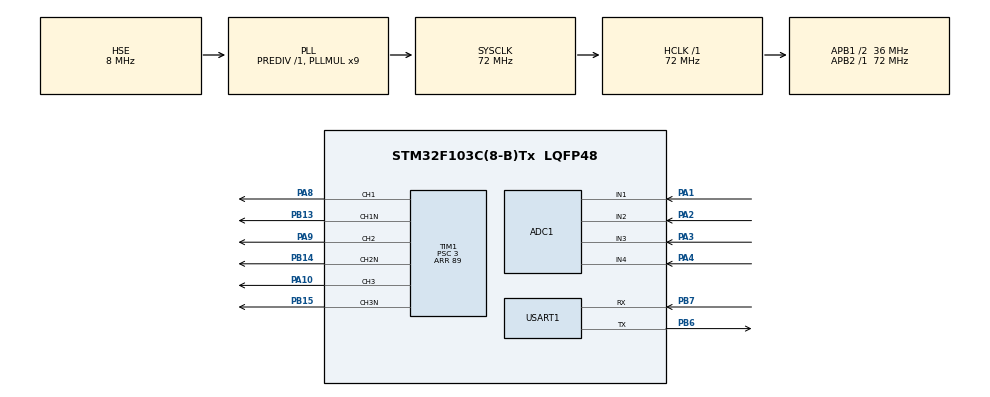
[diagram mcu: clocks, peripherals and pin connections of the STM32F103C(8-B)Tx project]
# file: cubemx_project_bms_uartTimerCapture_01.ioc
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ADC1.Channel-0\#ChannelRegularConversion=ADC_CHANNEL_1
ADC1.ContinuousConvMode=ENABLE
ADC1.NbrOfConversion=1
ADC1.NbrOfConversionFlag=1
ADC1.Rank-0\#ChannelRegularConversion=1
ADC1.SamplingTime-0\#ChannelRegularConversion=ADC_SAMPLETIME_239CYCLES_5
ADC1.master=1
Mcu.Family=STM32F1
Mcu.Name=STM32F103C(8-B)Tx
Mcu.Package=LQFP48
NVIC.ADC1_2_IRQn=true\:0\:0\:false\:false\:true\:true\:true\:true
NVIC.PriorityGroup=NVIC_PRIORITYGROUP_4
NVIC.RCC_IRQn=true\:0\:0\:false\:false\:true\:true\:false\:true
NVIC.TIM1_CC_IRQn=true\:0\:0\:false\:false\:true\:true\:true\:true
NVIC.TIM2_IRQn=true\:0\:0\:false\:false\:true\:true\:true\:true
PA1.Signal=ADCx_IN1
PA10.Signal=S_TIM1_CH3
PA13.Mode=Serial_Wire
PA13.Signal=SYS_JTMS-SWDIO
PA14.Mode=Serial_Wire
PA14.Signal=SYS_JTCK-SWCLK
PA2.Signal=ADCx_IN2
PA3.Signal=ADCx_IN3
PA4.Signal=ADCx_IN4
PA8.Signal=S_TIM1_CH1
PA9.Signal=S_TIM1_CH2
PB13.Mode=PWM Generation1 CH1 CH1N
PB13.Signal=TIM1_CH1N
PB14.Mode=PWM Generation2 CH2 CH2N
PB14.Signal=TIM1_CH2N
PB15.Mode=PWM Generation3 CH3 CH3N
PB15.Signal=TIM1_CH3N
PB6.Mode=Asynchronous
PB6.Signal=USART1_TX
PB7.Mode=Asynchronous
PB7.Signal=USART1_RX
PC14-OSC32_IN.Mode=LSE-External-Oscillator
PC14-OSC32_IN.Signal=RCC_OSC32_IN
PC15-OSC32_OUT.Mode=LSE-External-Oscillator
PC15-OSC32_OUT.Signal=RCC_OSC32_OUT
PD0-OSC_IN.Mode=HSE-External-Oscillator
PD0-OSC_IN.Signal=RCC_OSC_IN
PD1-OSC_OUT.Mode=HSE-External-Oscillator
PD1-OSC_OUT.Signal=RCC_OSC_OUT
ProjectManager.HeapSize=0x200
ProjectManager.StackSize=0x400
ProjectManager.TargetToolchain=STM32CubeIDE
RCC.ADCPresc=RCC_ADCPCLK2_DIV6
RCC.AHBFreq_Value=72000000
RCC.APB1CLKDivider=RCC_HCLK_DIV2
RCC.APB1Freq_Value=36000000
RCC.APB1TimFreq_Value=72000000
RCC.APB2Freq_Value=72000000
RCC.APB2TimFreq_Value=72000000
RCC.HCLKFreq_Value=72000000
RCC.PLLMUL=RCC_PLL_MUL9
RCC.PLLSourceVirtual=RCC_PLLSOURCE_HSE
RCC.SYSCLKFreq_VALUE=72000000
RCC.SYSCLKSource=RCC_SYSCLKSOURCE_PLLCLK
RCC.USBFreq_Value=72000000
SH.ADCx_IN1.0=ADC1_IN1,IN1
SH.ADCx_IN2.0=ADC1_IN2,IN2
SH.ADCx_IN3.0=ADC1_IN3,IN3
SH.ADCx_IN4.0=ADC1_IN4,IN4
SH.S_TIM1_CH1.0=TIM1_CH1,PWM Generation1 CH1 CH1N
SH.S_TIM1_CH2.0=TIM1_CH2,PWM Generation2 CH2 CH2N
SH.S_TIM1_CH3.0=TIM1_CH3,PWM Generation3 CH3 CH3N
TIM1.AutoReloadPreload=TIM_AUTORELOAD_PRELOAD_ENABLE
TIM1.Channel-PWM\ Generation1\ CH1\ CH1N=TIM_CHANNEL_1
TIM1.Channel-PWM\ Generation2\ CH2\ CH2N=TIM_CHANNEL_2
TIM1.Channel-PWM\ Generation3\ CH3\ CH3N=TIM_CHANNEL_3
TIM1.CounterMode=TIM_COUNTERMODE_UP
TIM1.DeadTime=200
TIM1.OC1Preload_PWM=ENABLE
TIM1.Period=89
TIM1.Prescaler=3
TIM1.Pulse-PWM\ Generation1\ CH1\ CH1N=26
TIM1.RepetitionCounter=0
TIM1.TIM_MasterOutputTrigger=TIM_TRGO_RESET
TIM2.Period=9999
TIM2.Prescaler=7199
USART1.VirtualMode=VM_ASYNC
VP_ADC1_Vref_Input.Mode=IN-Vrefint
VP_TIM1_VS_ClockSourceINT.Mode=Internal
VP_TIM2_VS_ClockSourceINT.Mode=Internal
board=custom

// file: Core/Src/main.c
/* USER CODE BEGIN Header */
/**
  ******************************************************************************
  * @file           : main.c
  * @brief          : Main program body
  ******************************************************************************
  * @attention
  *
  * Copyright (c) 2024 STMicroelectronics.
  * All rights reserved.
  *
  * This software is licensed under terms that can be found in the LICENSE file
  * in the root directory of this software component.
  * If no LICENSE file comes with this software, it is provided AS-IS.
  *
  ******************************************************************************
  */
/* USER CODE END Header */
#include "main.h"

/* USER CODE BEGIN Includes */
#include <stdbool.h>
#include <stdio.h>
#include <string.h>
/* USER CODE END Includes */

ADC_HandleTypeDef hadc1;

TIM_HandleTypeDef htim1;
TIM_HandleTypeDef htim2;

UART_HandleTypeDef huart1;

/* USER CODE BEGIN PV */
#define _USR_ADC_BUF_SIZE 5
#define _USR_ADC_SAMPLE_COUNT 16
#define _USR_ADC_CHANNEL_1 0
#define _USR_ADC_CHANNEL_2 1
#define _USR_ADC_CHANNEL_3 2
#define _USR_ADC_CHANNEL_4 3
#define _USR_VREF_CHANNEL 4

uint8_t g_pwmCounter;
uint32_t g_timeoutMs;
uint8_t g_u8count;
uint8_t g_u8adcSampleCounter;
bool g_adcFinishedFlg;
bool g_adcConvFlg;
uint32_t channel1 = 0;
uint32_t channel2 = 0;
uint32_t channel3 = 0;
uint32_t channel4 = 0;
uint32_t channel5 = 0;
uint32_t g_adcDmaBuffer[_USR_ADC_BUF_SIZE];
uint16_t Vref, vdda;
uint16_t readValue1, readValue2, readValue3, readValue4, readValue5;
uint16_t pil1, pil2, pil3, pil4;
static volatile uint32_t g_adcRawValueBuf[_USR_ADC_BUF_SIZE][_USR_ADC_SAMPLE_COUNT];
char buffer[20];

ADC_ChannelConfTypeDef sConfigPrivate = {0};
/* USER CODE END PV */

void SystemClock_Config(void);
static void MX_GPIO_Init(void);
static void MX_TIM1_Init(void);
static void MX_USART1_UART_Init(void);
static void MX_TIM2_Init(void);
static void MX_ADC1_Init(void);
/* USER CODE BEGIN PFP */
void UsrMyDelay(uint32_t timeoutMs);
void UsrAdcGetValue(void);
void UsrAdcCallback(void);
void UsrReadAdc(void);
/* USER CODE END PFP */

/* USER CODE BEGIN 0 */

/*
	TIM_CLCOK = APB_TIM_CLOCK / PRESCALAR    72000000 / 35 = 2 MHz
	FREQUENCY = TIM_CLOCK / ARR              2000000 / 100 = 20 KHz
	DUTY = (CCRx / ARR) x 100                30 / 100 x100 = 20
*/

void UsrReadAdc(void)
{
	sConfigPrivate.Rank = ADC_REGULAR_RANK_1;
	sConfigPrivate.SamplingTime = ADC_SAMPLETIME_71CYCLES_5;
	sConfigPrivate.Channel = ADC_CHANNEL_1;
	HAL_ADC_ConfigChannel(&hadc1, &sConfigPrivate);
	HAL_ADC_Start(&hadc1);
	HAL_ADC_PollForConversion(&hadc1, 1000);
	readValue1 = HAL_ADC_GetValue(&hadc1);
	sprintf(buffer, "adc1: %d\n", readValue1);
	HAL_UART_Transmit(&huart1, (uint8_t*)buffer, strlen(buffer), 100);
	memset(buffer, 0, 20);
	HAL_ADC_Stop(&hadc1);

	sConfigPrivate.SamplingTime = ADC_SAMPLETIME_71CYCLES_5;
	sConfigPrivate.Channel = ADC_CHANNEL_2;
	HAL_ADC_ConfigChannel(&hadc1, &sConfigPrivate);
	HAL_ADC_Start(&hadc1);
	HAL_ADC_PollForConversion(&hadc1, 1000);
	readValue2 = HAL_ADC_GetValue(&hadc1);
	sprintf(buffer, "adc2: %d\n", readValue2);
	HAL_UART_Transmit(&huart1, (uint8_t*)buffer, strlen(buffer), 100);
	memset(buffer, 0, 20);
	HAL_ADC_Stop(&hadc1);

	sConfigPrivate.SamplingTime = ADC_SAMPLETIME_71CYCLES_5;
	sConfigPrivate.Channel = ADC_CHANNEL_3;
	HAL_ADC_ConfigChannel(&hadc1, &sConfigPrivate);
	HAL_ADC_Start(&hadc1);
	HAL_ADC_PollForConversion(&hadc1, 1000);
	readValue3 = HAL_ADC_GetValue(&hadc1);
	sprintf(buffer, "adc3: %d\n", readValue3);
	HAL_UART_Transmit(&huart1, (uint8_t*)buffer, strlen(buffer), 100);
	memset(buffer, 0, 20);
	HAL_ADC_Stop(&hadc1);

	sConfigPrivate.SamplingTime = ADC_SAMPLETIME_71CYCLES_5;
	sConfigPrivate.Channel = ADC_CHANNEL_4;
	HAL_ADC_ConfigChannel(&hadc1, &sConfigPrivate);
	HAL_ADC_Start(&hadc1);
	HAL_ADC_PollForConversion(&hadc1, 1000);
	readValue4 = HAL_ADC_GetValue(&hadc1);
	sprintf(buffer, "adc4: %d\n", readValue4);
	HAL_UART_Transmit(&huart1, (uint8_t*)buffer, strlen(buffer), 100);
	memset(buffer, 0, 20);
	HAL_ADC_Stop(&hadc1);

	sConfigPrivate.SamplingTime = ADC_SAMPLETIME_71CYCLES_5;
	sConfigPrivate.Channel = ADC_CHANNEL_VREFINT;
	HAL_ADC_ConfigChannel(&hadc1, &sConfigPrivate);
	HAL_ADC_Start(&hadc1);
	HAL_ADC_PollForConversion(&hadc1, 1000);
	readValue5 = HAL_ADC_GetValue(&hadc1);
	HAL_ADC_Stop(&hadc1);
}

/* USER CODE END 0 */

int main(void)
{

  /* MCU Configuration--------------------------------------------------------*/

  /* Reset of all peripherals, Initializes the Flash interface and the Systick. */
  HAL_Init();

  /* Configure the system clock */
  SystemClock_Config();

  /* Initialize all configured peripherals */
  MX_GPIO_Init();
  MX_TIM1_Init();
  MX_USART1_UART_Init();
  MX_TIM2_Init();
  MX_ADC1_Init();
  /* USER CODE BEGIN 2 */
  HAL_ADCEx_Calibration_Start(&hadc1);
  /* USER CODE END 2 */

  /* Infinite loop */
  while (1)
  {

    /* USER CODE BEGIN 3 */
	  UsrReadAdc();
	  pil1 = (readValue1/4096.0)*1000;
	  pil2 = (readValue2/4096.0)*1000;
	  pil3 = (readValue3/4096.0)*1000;
	  pil4 = (readValue4/4096.0)*1000;
  }
  /* USER CODE END 3 */
}

void SystemClock_Config(void)
{
  RCC_OscInitTypeDef RCC_OscInitStruct = {0};
  RCC_ClkInitTypeDef RCC_ClkInitStruct = {0};
  RCC_PeriphCLKInitTypeDef PeriphClkInit = {0};

  /** Initializes the RCC Oscillators according to the specified parameters
  * in the RCC_OscInitTypeDef structure.
  */
  RCC_OscInitStruct.OscillatorType = RCC_OSCILLATORTYPE_HSE;
  RCC_OscInitStruct.HSEState = RCC_HSE_ON;
  RCC_OscInitStruct.HSEPredivValue = RCC_HSE_PREDIV_DIV1;
  RCC_OscInitStruct.HSIState = RCC_HSI_ON;
  RCC_OscInitStruct.PLL.PLLState = RCC_PLL_ON;
  RCC_OscInitStruct.PLL.PLLSource = RCC_PLLSOURCE_HSE;
  RCC_OscInitStruct.PLL.PLLMUL = RCC_PLL_MUL9;
  if (HAL_RCC_OscConfig(&RCC_OscInitStruct) != HAL_OK)
  {
    Error_Handler();
  }

  /** Initializes the CPU, AHB and APB buses clocks
  */
  RCC_ClkInitStruct.ClockType = RCC_CLOCKTYPE_HCLK|RCC_CLOCKTYPE_SYSCLK
                              |RCC_CLOCKTYPE_PCLK1|RCC_CLOCKTYPE_PCLK2;
  RCC_ClkInitStruct.SYSCLKSource = RCC_SYSCLKSOURCE_PLLCLK;
  RCC_ClkInitStruct.AHBCLKDivider = RCC_SYSCLK_DIV1;
  RCC_ClkInitStruct.APB1CLKDivider = RCC_HCLK_DIV2;
  RCC_ClkInitStruct.APB2CLKDivider = RCC_HCLK_DIV1;

  if (HAL_RCC_ClockConfig(&RCC_ClkInitStruct, FLASH_LATENCY_2) != HAL_OK)
  {
    Error_Handler();
  }
  PeriphClkInit.PeriphClockSelection = RCC_PERIPHCLK_ADC;
  PeriphClkInit.AdcClockSelection = RCC_ADCPCLK2_DIV6;
  if (HAL_RCCEx_PeriphCLKConfig(&PeriphClkInit) != HAL_OK)
  {
    Error_Handler();
  }
}

static void MX_ADC1_Init(void)
{

  ADC_ChannelConfTypeDef sConfig = {0};

  /** Common config
  */
  hadc1.Instance = ADC1;
  hadc1.Init.ScanConvMode = ADC_SCAN_DISABLE;
  hadc1.Init.ContinuousConvMode = ENABLE;
  hadc1.Init.DiscontinuousConvMode = DISABLE;
  hadc1.Init.ExternalTrigConv = ADC_SOFTWARE_START;
  hadc1.Init.DataAlign = ADC_DATAALIGN_RIGHT;
  hadc1.Init.NbrOfConversion = 1;
  if (HAL_ADC_Init(&hadc1) != HAL_OK)
  {
    Error_Handler();
  }

  /** Configure Regular Channel
  */
  sConfig.Channel = ADC_CHANNEL_1;
  sConfig.Rank = ADC_REGULAR_RANK_1;
  sConfig.SamplingTime = ADC_SAMPLETIME_239CYCLES_5;
  if (HAL_ADC_ConfigChannel(&hadc1, &sConfig) != HAL_OK)
  {
    Error_Handler();
  }

}

static void MX_TIM1_Init(void)
{

  TIM_ClockConfigTypeDef sClockSourceConfig = {0};
  TIM_MasterConfigTypeDef sMasterConfig = {0};
  TIM_OC_InitTypeDef sConfigOC = {0};
  TIM_BreakDeadTimeConfigTypeDef sBreakDeadTimeConfig = {0};

  htim1.Instance = TIM1;
  htim1.Init.Prescaler = 3;
  htim1.Init.CounterMode = TIM_COUNTERMODE_UP;
  htim1.Init.Period = 89;
  htim1.Init.ClockDivision = TIM_CLOCKDIVISION_DIV1;
  htim1.Init.RepetitionCounter = 0;
  htim1.Init.AutoReloadPreload = TIM_AUTORELOAD_PRELOAD_ENABLE;
  if (HAL_TIM_Base_Init(&htim1) != HAL_OK)
  {
    Error_Handler();
  }
  sClockSourceConfig.ClockSource = TIM_CLOCKSOURCE_INTERNAL;
  if (HAL_TIM_ConfigClockSource(&htim1, &sClockSourceConfig) != HAL_OK)
  {
    Error_Handler();
  }
  if (HAL_TIM_PWM_Init(&htim1) != HAL_OK)
  {
    Error_Handler();
  }
  sMasterConfig.MasterOutputTrigger = TIM_TRGO_RESET;
  sMasterConfig.MasterSlaveMode = TIM_MASTERSLAVEMODE_DISABLE;
  if (HAL_TIMEx_MasterConfigSynchronization(&htim1, &sMasterConfig) != HAL_OK)
  {
    Error_Handler();
  }
  sConfigOC.OCMode = TIM_OCMODE_PWM1;
  sConfigOC.Pulse = 26;
  sConfigOC.OCPolarity = TIM_OCPOLARITY_HIGH;
  sConfigOC.OCNPolarity = TIM_OCNPOLARITY_HIGH;
  sConfigOC.OCFastMode = TIM_OCFAST_DISABLE;
  sConfigOC.OCIdleState = TIM_OCIDLESTATE_RESET;
  sConfigOC.OCNIdleState = TIM_OCNIDLESTATE_RESET;
  if (HAL_TIM_PWM_ConfigChannel(&htim1, &sConfigOC, TIM_CHANNEL_1) != HAL_OK)
  {
    Error_Handler();
  }
  sConfigOC.Pulse = 0;
  if (HAL_TIM_PWM_ConfigChannel(&htim1, &sConfigOC, TIM_CHANNEL_2) != HAL_OK)
  {
    Error_Handler();
  }
  if (HAL_TIM_PWM_ConfigChannel(&htim1, &sConfigOC, TIM_CHANNEL_3) != HAL_OK)
  {
    Error_Handler();
  }
  sBreakDeadTimeConfig.OffStateRunMode = TIM_OSSR_DISABLE;
  sBreakDeadTimeConfig.OffStateIDLEMode = TIM_OSSI_DISABLE;
  sBreakDeadTimeConfig.LockLevel = TIM_LOCKLEVEL_OFF;
  sBreakDeadTimeConfig.DeadTime = 200;
  sBreakDeadTimeConfig.BreakState = TIM_BREAK_DISABLE;
  sBreakDeadTimeConfig.BreakPolarity = TIM_BREAKPOLARITY_HIGH;
  sBreakDeadTimeConfig.AutomaticOutput = TIM_AUTOMATICOUTPUT_DISABLE;
  if (HAL_TIMEx_ConfigBreakDeadTime(&htim1, &sBreakDeadTimeConfig) != HAL_OK)
  {
    Error_Handler();
  }
  HAL_TIM_MspPostInit(&htim1);

}

static void MX_TIM2_Init(void)
{

  TIM_ClockConfigTypeDef sClockSourceConfig = {0};
  TIM_MasterConfigTypeDef sMasterConfig = {0};

  htim2.Instance = TIM2;
  htim2.Init.Prescaler = 7199;
  htim2.Init.CounterMode = TIM_COUNTERMODE_UP;
  htim2.Init.Period = 9999;
  htim2.Init.ClockDivision = TIM_CLOCKDIVISION_DIV1;
  htim2.Init.AutoReloadPreload = TIM_AUTORELOAD_PRELOAD_DISABLE;
  if (HAL_TIM_Base_Init(&htim2) != HAL_OK)
  {
    Error_Handler();
  }
  sClockSourceConfig.ClockSource = TIM_CLOCKSOURCE_INTERNAL;
  if (HAL_TIM_ConfigClockSource(&htim2, &sClockSourceConfig) != HAL_OK)
  {
    Error_Handler();
  }
  sMasterConfig.MasterOutputTrigger = TIM_TRGO_RESET;
  sMasterConfig.MasterSlaveMode = TIM_MASTERSLAVEMODE_DISABLE;
  if (HAL_TIMEx_MasterConfigSynchronization(&htim2, &sMasterConfig) != HAL_OK)
  {
    Error_Handler();
  }

}

static void MX_USART1_UART_Init(void)
{

  huart1.Instance = USART1;
  huart1.Init.BaudRate = 115200;
  huart1.Init.WordLength = UART_WORDLENGTH_8B;
  huart1.Init.StopBits = UART_STOPBITS_1;
  huart1.Init.Parity = UART_PARITY_NONE;
  huart1.Init.Mode = UART_MODE_TX_RX;
  huart1.Init.HwFlowCtl = UART_HWCONTROL_NONE;
  huart1.Init.OverSampling = UART_OVERSAMPLING_16;
  if (HAL_UART_Init(&huart1) != HAL_OK)
  {
    Error_Handler();
  }

}

static void MX_GPIO_Init(void)
{

  /* GPIO Ports Clock Enable */
  __HAL_RCC_GPIOC_CLK_ENABLE();
  __HAL_RCC_GPIOD_CLK_ENABLE();
  __HAL_RCC_GPIOA_CLK_ENABLE();
  __HAL_RCC_GPIOB_CLK_ENABLE();

}

/* USER CODE BEGIN 4 */
void UsrMyDelay(uint32_t timeoutMs)
{
	while(timeoutMs - g_timeoutMs > 0);
	g_timeoutMs = 0;
}

//void HAL_TIM_IC_CaptureCallback(TIM_HandleTypeDef *htim)
void HAL_TIM_OC_DelayElapsedCallback(TIM_HandleTypeDef *htim)
{
	// dusen kenar yakalandiginda complementary pwm baslat
//	HAL_TIMEx_PWMN_Start(&htim1, TIM_CHANNEL_1);
}

void HAL_TIM_PeriodElapsedCallback(TIM_HandleTypeDef *htim)
{
	// periyod doldugunda complementary pwm durdur

}

void HAL_TIM_PWM_PulseFinishedCallback(TIM_HandleTypeDef *htim)
{
	g_pwmCounter++;

	HAL_TIMEx_PWMN_Start(&htim1, TIM_CHANNEL_1);

}

void UsrAdcGetValue(void)
{
	g_adcFinishedFlg = false;
	if (HAL_OK == HAL_ADC_Start_DMA(&hadc1, g_adcDmaBuffer, _USR_ADC_BUF_SIZE))
	{
		while(!g_adcFinishedFlg)
		;

		for (uint8_t i = 0; i < _USR_ADC_SAMPLE_COUNT; i++)
		{
			channel1 += g_adcRawValueBuf[_USR_ADC_CHANNEL_1][i];
			channel2 += g_adcRawValueBuf[_USR_ADC_CHANNEL_2][i];
			channel3 += g_adcRawValueBuf[_USR_ADC_CHANNEL_3][i];
			channel4 += g_adcRawValueBuf[_USR_ADC_CHANNEL_4][i];
			channel5 += g_adcRawValueBuf[_USR_VREF_CHANNEL][i];
		}
		channel1 /= _USR_ADC_SAMPLE_COUNT;
		channel2 /= _USR_ADC_SAMPLE_COUNT;
		channel3 /= _USR_ADC_SAMPLE_COUNT;
		channel4 /= _USR_ADC_SAMPLE_COUNT;
		channel5 /= _USR_ADC_SAMPLE_COUNT;
	}
	else
	{
		HAL_ADC_Stop_DMA(&hadc1);
	}

}

void UsrAdcCallback(void)
{
	for (uint8_t i = 0; i < _USR_ADC_BUF_SIZE; i++)
	{
		g_adcRawValueBuf[i][g_u8adcSampleCounter] = g_adcDmaBuffer[i];
	}
	g_u8adcSampleCounter++;
	if (g_u8adcSampleCounter >= _USR_ADC_SAMPLE_COUNT)
	{
		HAL_ADC_Stop_DMA(&hadc1);
		g_u8adcSampleCounter = 0;
		g_adcFinishedFlg = true;
	}

}

/* USER CODE END 4 */

void Error_Handler(void)
{
  __disable_irq();
  while (1)
  {
  }
}
